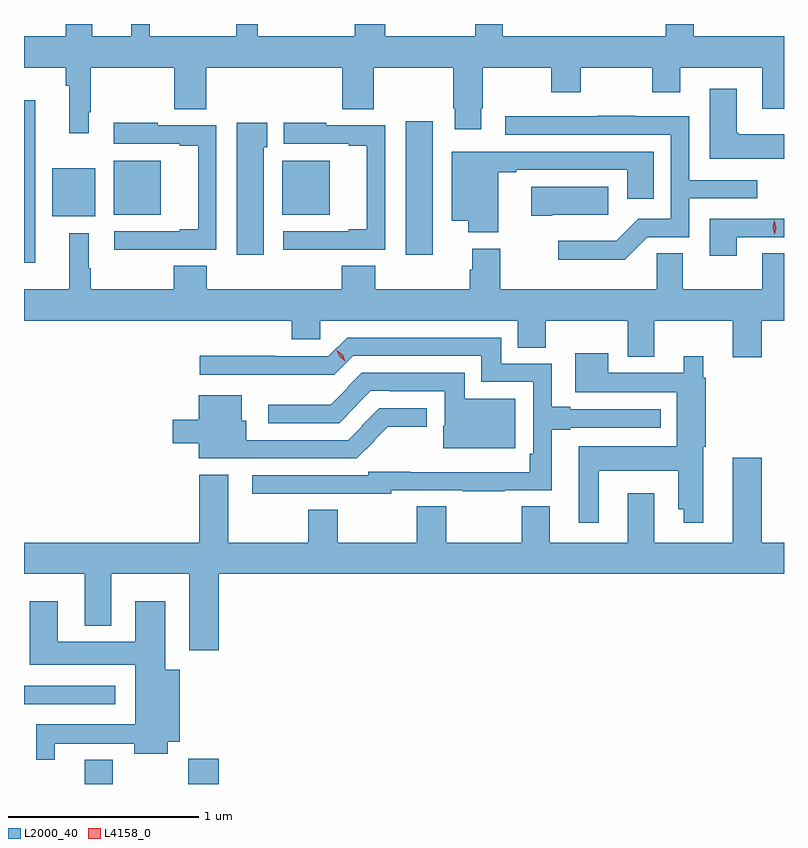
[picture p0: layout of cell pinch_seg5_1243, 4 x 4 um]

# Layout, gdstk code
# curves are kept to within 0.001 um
import gdstk
lib = gdstk.Library(unit=1e-6, precision=1e-09)
def R(c, l, rs):  # rectangles x0, y0, x1, y1
    for r in rs: c.add(gdstk.rectangle(r[:2], r[2:], *l))
def P(c, l, *ps):  # polygons
    for p in ps: c.add(gdstk.Polygon(p, *l))
L2000_40 = (2000, 40)
L4158_0 = (4158, 0)

pinch_seg5_1243 = lib.new_cell('pinch_seg5_1243')
R(pinch_seg5_1243, L2000_40, [(483.554,856.985,483.702,857.113), (484.099,856.985,484.259,857.119), (483.235,857.406,483.715,857.502), (483.235,859.728,483.295,860.584), (485.243,859.77,485.386,860.473), (483.383,859.973,483.61,860.227), (483.707,859.982,483.955,860.266), (484.595,859.982,484.843,860.266)])
P(pinch_seg5_1243, L2000_40, [(483.577,860.521),(483.587,860.521),(483.587,860.756),(484.027,860.756),(484.027,860.536),(484.193,860.536),(484.193,860.756),(484.91,860.756),(484.91,860.536),(485.076,860.536),(485.076,860.756),(485.494,860.756),(485.494,860.542),(485.501,860.542),(485.501,860.43),(485.641,860.43),(485.641,860.542),(485.649,860.542),(485.649,860.756),(486.01,860.756),(486.01,860.625),(486.165,860.625),(486.165,860.756),(486.541,860.756),(486.541,860.625),(486.688,860.625),(486.688,860.756),(487.121,860.756),(487.121,860.538),(487.235,860.538),(487.235,860.92),(486.759,860.92),(486.759,860.985),(486.613,860.985),(486.613,860.92),(485.754,860.92),(485.754,860.985),(485.609,860.985),(485.609,860.92),(485.135,860.92),(485.135,860.985),(484.977,860.985),(484.977,860.92),(484.464,860.92),(484.464,860.985),(484.352,860.985),(484.352,860.92),(483.898,860.92),(483.898,860.985),(483.8,860.985),(483.8,860.92),(483.595,860.92),(483.595,860.985),(483.455,860.985),(483.455,860.92),(483.235,860.92),(483.235,860.756),(483.456,860.756),(483.456,860.66),(483.473,860.66),(483.473,860.409),(483.577,860.409)],
  [(487.235,860.404),(486.993,860.404),(486.993,860.412),(486.985,860.412),(486.985,860.644),(486.845,860.644),(486.845,860.276),(487.235,860.276)],
  [(486.516,859.863),(486.735,859.863),(486.735,860.067),(487.093,860.067),(487.093,860.163),(486.735,860.163),(486.735,860.499),(486.452,860.499),(486.452,860.502),(486.253,860.502),(486.253,860.499),(485.769,860.499),(485.769,860.403),(486.639,860.403),(486.639,859.959),(486.468,859.959),(486.352,859.843),(486.048,859.843),(486.048,859.745),(486.398,859.745)],
  [(484.823,859.797),(485.136,859.797),(485.136,860.451),(484.826,860.451),(484.826,860.464),(484.601,860.464),(484.601,860.355),(484.943,860.355),(484.943,860.343),(485.039,860.343),(485.039,859.906),(484.943,859.906),(484.943,859.893),(484.599,859.893),(484.599,859.796),(484.823,859.796)],
  [(484.498,860.337),(484.516,860.337),(484.516,860.464),(484.355,860.464),(484.355,859.77),(484.498,859.77)],
  [(483.935,859.797),(484.248,859.797),(484.248,860.451),(483.938,860.451),(483.938,860.464),(483.708,860.464),(483.708,860.355),(484.055,860.355),(484.055,860.343),(484.151,860.343),(484.151,859.906),(484.055,859.906),(484.055,859.893),(483.711,859.893),(483.711,859.796),(483.935,859.796)],
  [(485.731,860.205),(485.827,860.205),(485.827,860.217),(486.41,860.217),(486.41,860.064),(486.55,860.064),(486.55,860.313),(485.486,860.313),(485.486,859.949),(485.573,859.949),(485.573,859.888),(485.731,859.888)],
  [(486.016,859.982),(486.31,859.982),(486.31,860.128),(485.904,860.128),(485.904,859.975),(486.016,859.975)],
  [(486.985,859.863),(487.235,859.863),(487.235,859.959),(486.845,859.959),(486.845,859.764),(486.985,859.764)],
  [(487.118,859.424),(487.235,859.424),(487.235,859.778),(487.121,859.778),(487.121,859.588),(486.703,859.588),(486.703,859.778),(486.564,859.778),(486.564,859.588),(485.742,859.588),(485.742,859.803),(485.594,859.803),(485.594,859.691),(485.582,859.691),(485.582,859.588),(485.084,859.588),(485.084,859.712),(484.907,859.712),(484.907,859.588),(484.196,859.588),(484.196,859.712),(484.024,859.712),(484.024,859.588),(483.587,859.588),(483.587,859.7),(483.577,859.7),(483.577,859.885),(483.473,859.885),(483.473,859.588),(483.235,859.588),(483.235,859.424),(484.643,859.424),(484.643,859.326),(484.794,859.326),(484.794,859.424),(485.834,859.424),(485.834,859.282),(485.982,859.282),(485.982,859.424),(486.413,859.424),(486.413,859.235),(486.553,859.235),(486.553,859.424),(486.965,859.424),(486.965,859.23),(487.118,859.23)],
  [(485.169,858.531),(485.545,858.531),(485.545,858.526),(485.765,858.526),(485.765,858.531),(486.013,858.531),(486.013,858.849),(486.109,858.849),(486.109,858.861),(486.586,858.861),(486.586,858.957),(486.109,858.957),(486.109,858.97),(486.012,858.97),(486.012,859.197),(485.746,859.197),(485.746,859.335),(484.935,859.335),(484.836,859.236),(484.559,859.236),(484.559,859.238),(484.161,859.238),(484.161,859.14),(484.772,859.139),(484.869,859.14),(484.968,859.239),(485.642,859.239),(485.642,859.101),(485.916,859.101),(485.916,858.724),(485.897,858.724),(485.897,858.627),(485.046,858.628),(485.046,858.609),(484.437,858.609),(484.437,858.513),(485.169,858.513)],
  [(486.259,858.635),(486.679,858.635),(486.679,858.432),(486.707,858.432),(486.707,858.36),(486.811,858.36),(486.811,858.759),(486.824,858.759),(486.824,859.124),(486.811,859.124),(486.811,859.237),(486.707,859.237),(486.707,859.15),(486.31,859.15),(486.31,859.252),(486.137,859.252),(486.137,859.046),(486.671,859.046),(486.671,858.763),(486.155,858.763),(486.155,858.36),(486.259,858.36)],
  [(485.821,859.012),(485.554,859.012),(485.554,859.149),(485.012,859.149),(484.939,859.076),(484.941,859.074),(484.849,858.982),(484.521,858.982),(484.521,858.885),(484.894,858.885),(484.987,858.978),(484.985,858.98),(485.061,859.056),(485.161,859.056),(485.161,859.053),(485.45,859.053),(485.45,858.87),(485.441,858.87),(485.441,858.752),(485.821,858.752)],
  [(485.08,858.792),(485.079,858.793),(485.15,858.865),(485.356,858.865),(485.356,858.963),(485.105,858.963),(485.012,858.87),(485.014,858.868),(484.941,858.795),(484.405,858.795),(484.405,858.897),(484.381,858.897),(484.381,859.03),(484.154,859.03),(484.154,858.901),(484.017,858.901),(484.017,858.779),(484.154,858.779),(484.154,858.699),(484.987,858.699)],
  [(484.259,858.092),(487.235,858.092),(487.235,858.256),(487.118,858.256),(487.118,858.703),(486.965,858.703),(486.965,858.256),(486.553,858.256),(486.553,858.514),(486.413,858.514),(486.413,858.256),(486.001,858.256),(486.001,858.446),(485.854,858.446),(485.854,858.256),(485.457,858.256),(485.457,858.446),(485.302,858.446),(485.302,858.256),(484.887,858.256),(484.887,858.428),(484.732,858.428),(484.732,858.256),(484.309,858.256),(484.309,858.613),(484.157,858.613),(484.157,858.256),(483.235,858.256),(483.235,858.092),(483.554,858.092),(483.554,857.819),(483.694,857.819),(483.694,858.092),(484.106,858.092),(484.106,857.688),(484.259,857.688)],
  [(483.397,857.198),(483.814,857.198),(483.814,857.144),(483.992,857.144),(483.992,857.207),(484.054,857.207),(484.054,857.587),(483.979,857.587),(483.979,857.947),(483.821,857.947),(483.821,857.734),(483.412,857.734),(483.412,857.947),(483.266,857.947),(483.266,857.612),(483.821,857.612),(483.821,857.299),(483.299,857.299),(483.299,857.112),(483.397,857.112)])
P(pinch_seg5_1243, L4158_0, [(484.926,859.21),(484.896,859.233),(484.882,859.267),(484.882,859.267),(484.882,859.267),(484.912,859.245),(484.926,859.211),(484.926,859.21)],
  [(487.186,859.878),(487.186,859.878),(487.175,859.914),(487.183,859.95),(487.184,859.951),(487.184,859.95),(487.195,859.915),(487.186,859.878)])

lib.write_gds('pinch_seg5_1243.gds')
